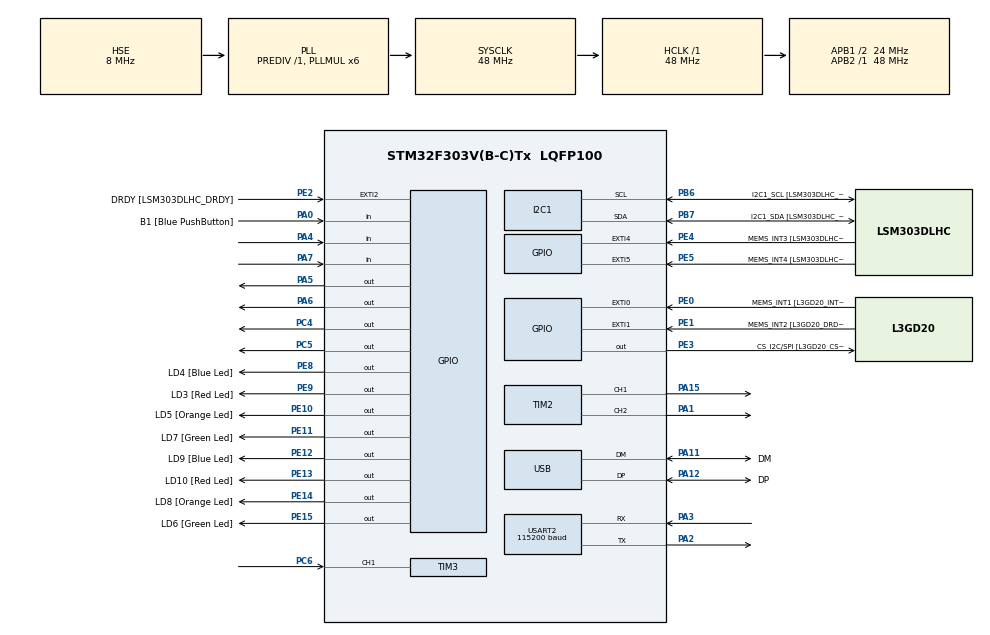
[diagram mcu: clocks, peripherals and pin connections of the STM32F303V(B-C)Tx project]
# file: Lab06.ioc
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I2C1.Timing=0x00201D2B
I2C1.Timing-I2C=0x2000090E
Mcu.Family=STM32F3
Mcu.Name=STM32F303V(B-C)Tx
Mcu.Package=LQFP100
NVIC.PriorityGroup=NVIC_PRIORITYGROUP_0
NVIC.TIM3_IRQn=true\:0\:0\:false\:false\:true\:true\:true\:true
PA0.GPIO_Label=B1 [Blue PushButton]
PA0.Signal=GPIO_Input
PA1.Signal=S_TIM2_CH2
PA11.GPIO_Label=DM
PA11.Mode=Device
PA11.Signal=USB_DM
PA12.GPIO_Label=DP
PA12.Mode=Device
PA12.Signal=USB_DP
PA13.GPIO_Label=SWDIO
PA13.Mode=Serial_Wire
PA13.Signal=SYS_JTMS-SWDIO
PA14.GPIO_Label=SWCLK
PA14.Mode=Serial_Wire
PA14.Signal=SYS_JTCK-SWCLK
PA15.Signal=S_TIM2_CH1_ETR
PA2.Mode=Asynchronous
PA2.Signal=USART2_TX
PA3.Mode=Asynchronous
PA3.Signal=USART2_RX
PA4.GPIO_PuPd=GPIO_PULLUP
PA4.Signal=GPIO_Input
PA5.Signal=GPIO_Output
PA6.Signal=GPIO_Output
PA7.GPIO_PuPd=GPIO_PULLUP
PA7.Signal=GPIO_Input
PB3.GPIO_Label=SWO
PB3.Signal=SYS_JTDO-TRACESWO
PB6.GPIO_Label=I2C1_SCL [LSM303DLHC_SCL]
PB6.GPIO_Pu=GPIO_PULLUP
PB6.Mode=I2C
PB6.Signal=I2C1_SCL
PB7.GPIO_Label=I2C1_SDA [LSM303DLHC_SDA]
PB7.GPIO_Pu=GPIO_PULLUP
PB7.Mode=I2C
PB7.Signal=I2C1_SDA
PC14-OSC32_IN.GPIO_Label=OSC32_IN
PC14-OSC32_IN.Signal=RCC_OSC32_IN
PC15-OSC32_OUT.GPIO_Label=OSC32_OUT
PC15-OSC32_OUT.Signal=RCC_OSC32_OUT
PC4.Signal=GPIO_Output
PC5.Signal=GPIO_Output
PC6.Signal=S_TIM3_CH1
PE0.GPIO_Label=MEMS_INT1 [L3GD20_INT1]
PE0.GPIO_ModeDefaultEXTI=GPIO_MODE_EVT_RISING
PE0.Signal=GPXTI0
PE1.GPIO_Label=MEMS_INT2 [L3GD20_DRDY/INT2]
PE1.GPIO_ModeDefaultEXTI=GPIO_MODE_EVT_RISING
PE1.Signal=GPXTI1
PE10.GPIO_Label=LD5 [Orange Led]
PE10.Signal=GPIO_Output
PE11.GPIO_Label=LD7 [Green Led]
PE11.Signal=GPIO_Output
PE12.GPIO_Label=LD9 [Blue Led]
PE12.Signal=GPIO_Output
PE13.GPIO_Label=LD10 [Red Led]
PE13.Signal=GPIO_Output
PE14.GPIO_Label=LD8 [Orange Led]
PE14.Signal=GPIO_Output
PE15.GPIO_Label=LD6 [Green Led]
PE15.Signal=GPIO_Output
PE2.GPIO_Label=DRDY [LSM303DLHC_DRDY]
PE2.GPIO_ModeDefaultEXTI=GPIO_MODE_EVT_RISING
PE2.Signal=GPXTI2
PE3.GPIO_Label=CS_I2C/SPI [L3GD20_CS_I2C/SPI]
PE3.Signal=GPIO_Output
PE4.GPIO_Label=MEMS_INT3 [LSM303DLHC_INT1]
PE4.GPIO_ModeDefaultEXTI=GPIO_MODE_EVT_RISING
PE4.Signal=GPXTI4
PE5.GPIO_Label=MEMS_INT4 [LSM303DLHC_INT2]
PE5.GPIO_ModeDefaultEXTI=GPIO_MODE_EVT_RISING
PE5.Signal=GPXTI5
PE8.GPIO_Label=LD4 [Blue Led]
PE8.Signal=GPIO_Output
PE9.GPIO_Label=LD3 [Red Led]
PE9.Signal=GPIO_Output
PF0-OSC_IN.GPIO_Label=OSC_IN
PF0-OSC_IN.Mode=HSE-External-Clock-Source
PF0-OSC_IN.Signal=RCC_OSC_IN
PF1-OSC_OUT.GPIO_Label=OSC_OUT
PF1-OSC_OUT.Signal=RCC_OSC_OUT
ProjectManager.HeapSize=0x200
ProjectManager.StackSize=0x400
ProjectManager.TargetToolchain=CMake
RCC.AHBFreq_Value=48000000
RCC.APB1CLKDivider=RCC_HCLK_DIV2
RCC.APB1Freq_Value=24000000
RCC.APB1TimFreq_Value=48000000
RCC.APB2Freq_Value=48000000
RCC.APB2TimFreq_Value=48000000
RCC.CortexFreq_Value=48000000
RCC.HCLKFreq_Value=48000000
RCC.HSE_VALUE=8000000
RCC.HSI_VALUE=8000000
RCC.LSE_VALUE=32768
RCC.PLLMUL=RCC_PLL_MUL6
RCC.SYSCLKFreq_VALUE=48000000
RCC.SYSCLKSourceVirtual=RCC_SYSCLKSOURCE_PLLCLK
RCC.USBFreq_Value=48000000
SH.S_TIM2_CH1_ETR.0=TIM2_CH1,PWM Generation1 CH1
SH.S_TIM2_CH2.0=TIM2_CH2,PWM Generation2 CH2
SH.S_TIM3_CH1.0=TIM3_CH1,Input_Capture1_from_TI1
TIM2.Channel-PWM\ Generation1\ CH1=TIM_CHANNEL_1
TIM2.Channel-PWM\ Generation2\ CH2=TIM_CHANNEL_2
TIM3.Channel-Input_Capture1_from_TI1=TIM_CHANNEL_1
TIM3.Prescaler=47
USART2.BaudRate=115200
USART2.VirtualMode-Asynchronous=VM_ASYNC
VP_TIM3_VS_ClockSourceINT.Mode=Internal
board=STM32F3DISCOVERY

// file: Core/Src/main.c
/* USER CODE BEGIN Header */
/**
  ******************************************************************************
  * @file           : main.c
  * @brief          : Lab 6 Task 4 - Motor Speed Measurement Using Input Capture
  ******************************************************************************
  * @attention
  *
  * Hardware Setup (Keyestudio Balance Car Shield):
  * - D4 (Encoder)  -> PA0 (TIM3_CH1) - Input Capture
  * - D10 (PWM)     -> PWM output (TIM2_CH1) - Right motor
  * - D9 (PWM)      -> PWM output (TIM2_CH2) - Left motor
  * - D12           -> PA5 - Right motor direction 1
  * - D8            -> PA6 - Right motor direction 2
  * - D7            -> PC4 - Left motor direction 1
  * - D6            -> PC5 - Left motor direction 2
  * - 5V            -> 5V - Encoder power
  * - GND           -> GND - Common ground
  * - Vin           -> External 7-12V - Motor power
  *
  ******************************************************************************
  */
/* USER CODE END Header */

#include "main.h"
#include <stdio.h>
#include <string.h>
#include <stdarg.h>
#include <stdbool.h>

/* USER CODE BEGIN PTD */

// Structure to store encoder measurements
typedef struct {
    uint32_t pulse_period;      // Time between pulses in microseconds
    uint32_t pulse_count;       // Number of pulses counted
    float frequency;            // Calculated frequency in Hz
    float rpm;                  // Calculated RPM
    uint8_t valid;              // Flag indicating valid measurement
} Encoder_Data_t;

/* USER CODE END PTD */

/* USER CODE BEGIN PD */

// ===== LAB 6 TASK 4: MOTOR SPEED MEASUREMENT USING INPUT CAPTURE =====

// Motor PWM Pins (TIM2)
#define MOTOR_RIGHT_PWM_PORT   GPIOA
#define MOTOR_RIGHT_PWM_PIN    GPIO_PIN_1   // PA1 - TIM2_CH2 (if using CH2)
#define MOTOR_LEFT_PWM_PORT    GPIOA
#define MOTOR_LEFT_PWM_PIN     GPIO_PIN_2   // PA2 - TIM2_CH3 (if using CH3)

// Motor Direction Pins (from shield)
#define MOTOR_RIGHT_DIR1_PORT  GPIOA
#define MOTOR_RIGHT_DIR1_PIN   GPIO_PIN_5   // D12 - Right motor direction 1
#define MOTOR_RIGHT_DIR2_PORT  GPIOA
#define MOTOR_RIGHT_DIR2_PIN   GPIO_PIN_6   // D8 - Right motor direction 2

#define MOTOR_LEFT_DIR1_PORT   GPIOC
#define MOTOR_LEFT_DIR1_PIN    GPIO_PIN_4   // D7 - Left motor direction 1
#define MOTOR_LEFT_DIR2_PORT   GPIOC
#define MOTOR_LEFT_DIR2_PIN    GPIO_PIN_5   // D6 - Left motor direction 2

// Encoder Parameters
#define PULSES_PER_REVOLUTION  330    // PPR - Adjust based on your motor
#define MIN_VALID_PERIOD       100   // Minimum valid period (100µs = 10kHz max)
#define MAX_VALID_PERIOD       100000 // Maximum valid period (100ms = 10Hz min)

// PWM Parameters for Motor Control
#define PWM_MAX_VALUE          4294967295  // 32-bit max for TIM2
#define PWM_TEST_SPEED          2147483647  // 50% duty cycle

/* USER CODE END PD */

I2C_HandleTypeDef hi2c1;

TIM_HandleTypeDef htim2;
TIM_HandleTypeDef htim3;

UART_HandleTypeDef huart2;

PCD_HandleTypeDef hpcd_USB_FS;

/* USER CODE BEGIN PV */

/* ============================================================
   TASK 4: Input Capture Variables
   ============================================================ */
volatile uint32_t ic_val1       = 0;   // First captured timer value
volatile uint32_t ic_val2       = 0;   // Second captured timer value
volatile uint8_t  ic_edge_count = 0;   // Counts how many edges have been captured
volatile uint8_t  ic_ready      = 0;   // Flag: 1 = two edges captured, RPM ready to calc

// Encoder data for right motor
static Encoder_Data_t encoder_right = {0};

// UART buffer for printf
static char uart_buffer[256];

/* USER CODE END PV */

void SystemClock_Config(void);
static void MX_GPIO_Init(void);
static void MX_I2C1_Init(void);
static void MX_TIM2_Init(void);
static void MX_TIM3_Init(void);
static void MX_USART2_UART_Init(void);
static void MX_USB_PCD_Init(void);

/* USER CODE BEGIN PFP */

// ===== MOTOR CONTROL FUNCTIONS =====
void Motor_Init(void);
void Motor_SetSpeed_Right(uint32_t pwm_value, uint8_t direction);
void Motor_SetSpeed_Left(uint32_t pwm_value, uint8_t direction);
void Motor_Stop(void);

// ===== ENCODER FUNCTIONS =====
void Encoder_Init_InputCapture(void);
float Encoder_Calculate_Frequency(uint32_t period_us);
float Encoder_Calculate_RPM(float frequency_hz);

// ===== UART FUNCTIONS =====
void UART_Printf(const char *format, ...);
void UART_SendString(char *str);

// ===== TASK 4 FUNCTIONS =====
void HAL_TIM_IC_CaptureCallback(TIM_HandleTypeDef *htim);
void calculate_and_print_RPM(void);
void Print_Motor_Speed_InputCapture(void);

/* USER CODE END PFP */

/* USER CODE BEGIN 0 */

// ===== UART FUNCTIONS =====

/**
  * @brief Simplified printf using UART
  */
void UART_Printf(const char *format, ...)
{
    va_list args;
    va_start(args, format);
    vsnprintf(uart_buffer, sizeof(uart_buffer), format, args);
    va_end(args);

    HAL_UART_Transmit(&huart2, (uint8_t*)uart_buffer, strlen(uart_buffer), HAL_MAX_DELAY);
}

/**
  * @brief Send string over UART
  */
void UART_SendString(char *str)
{
    HAL_UART_Transmit(&huart2, (uint8_t*)str, strlen(str), HAL_MAX_DELAY);
}

// ===== MOTOR CONTROL FUNCTIONS =====

/**
  * @brief Initialize motor control pins and PWM
  */
void Motor_Init(void)
{
    // Initialize direction pins (set all to output low)
    HAL_GPIO_WritePin(MOTOR_RIGHT_DIR1_PORT, MOTOR_RIGHT_DIR1_PIN, GPIO_PIN_RESET);
    HAL_GPIO_WritePin(MOTOR_RIGHT_DIR2_PORT, MOTOR_RIGHT_DIR2_PIN, GPIO_PIN_RESET);
    HAL_GPIO_WritePin(MOTOR_LEFT_DIR1_PORT, MOTOR_LEFT_DIR1_PIN, GPIO_PIN_RESET);
    HAL_GPIO_WritePin(MOTOR_LEFT_DIR2_PORT, MOTOR_LEFT_DIR2_PIN, GPIO_PIN_RESET);

    // Start PWM on motor channels
    HAL_TIM_PWM_Start(&htim2, TIM_CHANNEL_1); // Right motor PWM
    HAL_TIM_PWM_Start(&htim2, TIM_CHANNEL_2); // Left motor PWM

    // Initialize with motor stopped
    Motor_Stop();

    UART_Printf("Motor initialized\r\n");
}

/**
  * @brief Set right motor speed and direction
  * @param pwm_value PWM value (0-4294967295)
  * @param direction 0 = forward, 1 = backward
  */
void Motor_SetSpeed_Right(uint32_t pwm_value, uint8_t direction)
{
    // Set direction pins according to Keyestudio shield logic
    // Forward: D8 LOW, D12 HIGH
    // Backward: D8 HIGH, D12 LOW
    if (direction == 0)  // Forward
    {
        HAL_GPIO_WritePin(MOTOR_RIGHT_DIR1_PORT, MOTOR_RIGHT_DIR1_PIN, GPIO_PIN_SET);   // D12 HIGH
        HAL_GPIO_WritePin(MOTOR_RIGHT_DIR2_PORT, MOTOR_RIGHT_DIR2_PIN, GPIO_PIN_RESET); // D8 LOW
    }
    else  // Backward
    {
        HAL_GPIO_WritePin(MOTOR_RIGHT_DIR1_PORT, MOTOR_RIGHT_DIR1_PIN, GPIO_PIN_RESET); // D12 LOW
        HAL_GPIO_WritePin(MOTOR_RIGHT_DIR2_PORT, MOTOR_RIGHT_DIR2_PIN, GPIO_PIN_SET);   // D8 HIGH
    }

    // Set PWM duty cycle
    __HAL_TIM_SET_COMPARE(&htim2, TIM_CHANNEL_1, pwm_value);
}

/**
  * @brief Set left motor speed and direction
  * @param pwm_value PWM value (0-4294967295)
  * @param direction 0 = forward, 1 = backward
  */
void Motor_SetSpeed_Left(uint32_t pwm_value, uint8_t direction)
{
    // Set direction pins according to Keyestudio shield logic
    // Forward: D6 LOW, D7 HIGH
    // Backward: D6 HIGH, D7 LOW
    if (direction == 0)  // Forward
    {
        HAL_GPIO_WritePin(MOTOR_LEFT_DIR1_PORT, MOTOR_LEFT_DIR1_PIN, GPIO_PIN_SET);   // D7 HIGH
        HAL_GPIO_WritePin(MOTOR_LEFT_DIR2_PORT, MOTOR_LEFT_DIR2_PIN, GPIO_PIN_RESET); // D6 LOW
    }
    else  // Backward
    {
        HAL_GPIO_WritePin(MOTOR_LEFT_DIR1_PORT, MOTOR_LEFT_DIR1_PIN, GPIO_PIN_RESET); // D7 LOW
        HAL_GPIO_WritePin(MOTOR_LEFT_DIR2_PORT, MOTOR_LEFT_DIR2_PIN, GPIO_PIN_SET);   // D6 HIGH
    }

    // Set PWM duty cycle
    __HAL_TIM_SET_COMPARE(&htim2, TIM_CHANNEL_2, pwm_value);
}

/**
  * @brief Stop motors
  */
void Motor_Stop(void)
{
    // Set PWM to 0
    __HAL_TIM_SET_COMPARE(&htim2, TIM_CHANNEL_1, 0);
    __HAL_TIM_SET_COMPARE(&htim2, TIM_CHANNEL_2, 0);

    // Reset direction pins
    HAL_GPIO_WritePin(MOTOR_RIGHT_DIR1_PORT, MOTOR_RIGHT_DIR1_PIN, GPIO_PIN_RESET);
    HAL_GPIO_WritePin(MOTOR_RIGHT_DIR2_PORT, MOTOR_RIGHT_DIR2_PIN, GPIO_PIN_RESET);
    HAL_GPIO_WritePin(MOTOR_LEFT_DIR1_PORT, MOTOR_LEFT_DIR1_PIN, GPIO_PIN_RESET);
    HAL_GPIO_WritePin(MOTOR_LEFT_DIR2_PORT, MOTOR_LEFT_DIR2_PIN, GPIO_PIN_RESET);
}

// ===== ENCODER FUNCTIONS =====

/**
  * @brief Initialize encoder for input capture mode
  */
void Encoder_Init_InputCapture(void)
{
    // Reset encoder data
    memset(&encoder_right, 0, sizeof(Encoder_Data_t));

    // Reset input capture variables
    ic_val1 = 0;
    ic_val2 = 0;
    ic_edge_count = 0;
    ic_ready = 0;

    UART_Printf("Encoder initialized for Input Capture mode on PA0 (TIM3_CH1)\r\n");
}

/**
  * @brief Calculate frequency from period
  * @param period_us Period in microseconds
  * @return Frequency in Hz
  */
float Encoder_Calculate_Frequency(uint32_t period_us)
{
    if (period_us == 0)
        return 0.0f;

    // Frequency = 1 / Period (in seconds)
    // Period in seconds = period_us / 1,000,000
    return 1000000.0f / (float)period_us;
}

/**
  * @brief Calculate RPM from frequency
  * @param frequency_hz Frequency in Hz
  * @return RPM
  */
float Encoder_Calculate_RPM(float frequency_hz)
{
    // RPM = (Pulses per second) * 60 / (Pulses per revolution)
    return (frequency_hz * 60.0f) / (float)PULSES_PER_REVOLUTION;
}

// ===== TASK 4: INPUT CAPTURE FUNCTIONS =====

/**
  * @brief Input Capture interrupt callback
  * This function is called automatically by HAL every time TIM3 CH1 captures a rising edge
  */
void HAL_TIM_IC_CaptureCallback(TIM_HandleTypeDef *htim)
{
    if (htim->Instance == TIM3 && htim->Channel == HAL_TIM_ACTIVE_CHANNEL_1)
    {
        if (ic_edge_count == 0)
        {
            // First rising edge captured
            ic_val1 = HAL_TIM_ReadCapturedValue(htim, TIM_CHANNEL_1);
            ic_edge_count = 1;
        }
        else if (ic_edge_count == 1)
        {
            // Second rising edge captured
            ic_val2 = HAL_TIM_ReadCapturedValue(htim, TIM_CHANNEL_1);
            ic_edge_count = 0;
            ic_ready = 1;  // Signal main loop that RPM is ready to calculate

            // Increment pulse count
            encoder_right.pulse_count++;
        }
    }
}

/**
  * @brief Calculate and print RPM from captured values
  */
void calculate_and_print_RPM(void)
{
    uint32_t ticks;
    float frequency;
    float rpm;

    // Calculate period in ticks (handling timer overflow)
    if (ic_val2 > ic_val1)
    {
        ticks = ic_val2 - ic_val1;
    }
    else
    {
        // Timer overflow occurred
        ticks = (65535 - ic_val1) + ic_val2 + 1;
    }

    // Store period
    encoder_right.pulse_period = ticks;

    // Check if period is valid
    if (ticks > MIN_VALID_PERIOD && ticks < MAX_VALID_PERIOD)
    {
        encoder_right.valid = 1;

        // Calculate frequency and RPM
        frequency = Encoder_Calculate_Frequency(ticks);
        rpm = Encoder_Calculate_RPM(frequency);

        // Print result
        UART_Printf("Period: %lu µs, Frequency: %.2f Hz, RPM: %.2f\r\n",
                   ticks, frequency, rpm);
    }
    else
    {
        UART_Printf("Invalid period: %lu µs (out of range)\r\n", ticks);
    }
}

/**
  * @brief Print motor speed information for input capture mode
  */
void Print_Motor_Speed_InputCapture(void)
{
    static uint32_t last_print_time = 0;
    uint32_t current_time = HAL_GetTick();

    // Print every 500ms
    if (current_time - last_print_time >= 500)
    {
        last_print_time = current_time;

        // Clear screen
        UART_Printf("\033[2J\033[H");
        UART_Printf("========================================\r\n");
        UART_Printf("   LAB 6 TASK 4: INPUT CAPTURE MODE\r\n");
        UART_Printf("========================================\r\n\n");

        UART_Printf("Motor PWM: 50%% duty cycle\r\n");
        UART_Printf("Encoder PPR: %d\r\n", PULSES_PER_REVOLUTION);
        UART_Printf("Input Capture Pin: PA0 (TIM3_CH1)\r\n\n");

        if (encoder_right.valid && encoder_right.pulse_count > 0)
        {
            UART_Printf("--- MEASUREMENTS ---\r\n");
            UART_Printf("Pulse Count: %lu\r\n", encoder_right.pulse_count);
            UART_Printf("Last Period: %lu µs\r\n", encoder_right.pulse_period);

            if (encoder_right.pulse_period > MIN_VALID_PERIOD)
            {
                float freq = Encoder_Calculate_Frequency(encoder_right.pulse_period);
                float rpm = Encoder_Calculate_RPM(freq);
                UART_Printf("Frequency: %.2f Hz\r\n", freq);
                UART_Printf("Motor Speed: %.2f RPM\r\n", rpm);

                // Visual speed indicator
                UART_Printf("\r\nSpeed: [");
                int bars = (int)(rpm / 100.0f);
                if (bars > 50) bars = 50;
                for (int i = 0; i < bars; i++) UART_SendString("#");
                for (int i = bars; i < 50; i++) UART_SendString(".");
                UART_Printf("]\r\n");
            }
        }
        else
        {
            UART_Printf("⏳ Waiting for encoder pulses...\r\n");
            UART_Printf("Edge count: %d\r\n", ic_edge_count);
        }

        UART_Printf("\r\nTIM3 Counter: %lu\r\n", __HAL_TIM_GET_COUNTER(&htim3));
    }
}

/* USER CODE END 0 */

int main(void)
{

    /* MCU Configuration--------------------------------------------------------*/

    /* Reset of all peripherals, Initializes the Flash interface and the Systick. */
    HAL_Init();

    /* Configure the system clock */
    SystemClock_Config();

    /* Initialize all configured peripherals */
    MX_GPIO_Init();
    MX_I2C1_Init();
    MX_TIM2_Init();
    MX_TIM3_Init();
    MX_USART2_UART_Init();
    MX_USB_PCD_Init();

    /* USER CODE BEGIN 2 */

    /* --- Motor Direction Setup --- */
    // Set motors to forward direction
    HAL_GPIO_WritePin(MOTOR_RIGHT_DIR1_PORT, MOTOR_RIGHT_DIR1_PIN, GPIO_PIN_SET);   // D12 HIGH
    HAL_GPIO_WritePin(MOTOR_RIGHT_DIR2_PORT, MOTOR_RIGHT_DIR2_PIN, GPIO_PIN_RESET); // D8 LOW
    HAL_GPIO_WritePin(MOTOR_LEFT_DIR1_PORT, MOTOR_LEFT_DIR1_PIN, GPIO_PIN_SET);     // D7 HIGH
    HAL_GPIO_WritePin(MOTOR_LEFT_DIR2_PORT, MOTOR_LEFT_DIR2_PIN, GPIO_PIN_RESET);   // D6 LOW

    /* --- Initialize Motor PWM --- */
    HAL_TIM_PWM_Start(&htim2, TIM_CHANNEL_1); // Right motor PWM
    HAL_TIM_PWM_Start(&htim2, TIM_CHANNEL_2); // Left motor PWM

    /* --- Set PWM Duty Cycle (50%) --- */
    __HAL_TIM_SET_COMPARE(&htim2, TIM_CHANNEL_1, PWM_TEST_SPEED);
    __HAL_TIM_SET_COMPARE(&htim2, TIM_CHANNEL_2, PWM_TEST_SPEED);

    /* --- Initialize Encoder for Input Capture --- */
    Encoder_Init_InputCapture();

    /* --- Start TIM3 Channel 1 Input Capture with Interrupt --- */
    HAL_TIM_IC_Start_IT(&htim3, TIM_CHANNEL_1);

    /* --- UART Test Message --- */
    UART_Printf("\r\n\n========================================\r\n");
    UART_Printf("LAB 6 TASK 4: INPUT CAPTURE MODE\r\n");
    UART_Printf("Encoder connected to PA0 (TIM3_CH1)\r\n");
    UART_Printf("Motors running at 50%% duty cycle\r\n");
    UART_Printf("========================================\r\n\n");

    /* USER CODE END 2 */

    /* Infinite loop */
    while (1)
    {

        /* USER CODE BEGIN 3 */

        // Check if RPM is ready to calculate
        if (ic_ready)
        {
            calculate_and_print_RPM();
            ic_ready = 0;
        }

        // Print speed information periodically
        Print_Motor_Speed_InputCapture();

        HAL_Delay(10);
    }
    /* USER CODE END 3 */
}

void SystemClock_Config(void)
{
    RCC_OscInitTypeDef RCC_OscInitStruct = {0};
    RCC_ClkInitTypeDef RCC_ClkInitStruct = {0};
    RCC_PeriphCLKInitTypeDef PeriphClkInit = {0};

    /** Initializes the RCC Oscillators according to the specified parameters
    * in the RCC_OscInitTypeDef structure.
    */
    RCC_OscInitStruct.OscillatorType = RCC_OSCILLATORTYPE_HSI|RCC_OSCILLATORTYPE_HSE;
    RCC_OscInitStruct.HSEState = RCC_HSE_BYPASS;
    RCC_OscInitStruct.HSEPredivValue = RCC_HSE_PREDIV_DIV1;
    RCC_OscInitStruct.HSIState = RCC_HSI_ON;
    RCC_OscInitStruct.HSICalibrationValue = RCC_HSICALIBRATION_DEFAULT;
    RCC_OscInitStruct.PLL.PLLState = RCC_PLL_ON;
    RCC_OscInitStruct.PLL.PLLSource = RCC_PLLSOURCE_HSE;
    RCC_OscInitStruct.PLL.PLLMUL = RCC_PLL_MUL6;
    if (HAL_RCC_OscConfig(&RCC_OscInitStruct) != HAL_OK)
    {
        Error_Handler();
    }

    /** Initializes the CPU, AHB and APB buses clocks
    */
    RCC_ClkInitStruct.ClockType = RCC_CLOCKTYPE_HCLK|RCC_CLOCKTYPE_SYSCLK
                              |RCC_CLOCKTYPE_PCLK1|RCC_CLOCKTYPE_PCLK2;
    RCC_ClkInitStruct.SYSCLKSource = RCC_SYSCLKSOURCE_PLLCLK;
    RCC_ClkInitStruct.AHBCLKDivider = RCC_SYSCLK_DIV1;
    RCC_ClkInitStruct.APB1CLKDivider = RCC_HCLK_DIV2;
    RCC_ClkInitStruct.APB2CLKDivider = RCC_HCLK_DIV1;

    if (HAL_RCC_ClockConfig(&RCC_ClkInitStruct, FLASH_LATENCY_1) != HAL_OK)
    {
        Error_Handler();
    }
    PeriphClkInit.PeriphClockSelection = RCC_PERIPHCLK_USB|RCC_PERIPHCLK_USART2
                              |RCC_PERIPHCLK_I2C1;
    PeriphClkInit.Usart2ClockSelection = RCC_USART2CLKSOURCE_PCLK1;
    PeriphClkInit.I2c1ClockSelection = RCC_I2C1CLKSOURCE_HSI;
    PeriphClkInit.USBClockSelection = RCC_USBCLKSOURCE_PLL;
    if (HAL_RCCEx_PeriphCLKConfig(&PeriphClkInit) != HAL_OK)
    {
        Error_Handler();
    }
}

static void MX_I2C1_Init(void)
{
    hi2c1.Instance = I2C1;
    hi2c1.Init.Timing = 0x00201D2B;
    hi2c1.Init.OwnAddress1 = 0;
    hi2c1.Init.AddressingMode = I2C_ADDRESSINGMODE_7BIT;
    hi2c1.Init.DualAddressMode = I2C_DUALADDRESS_DISABLE;
    hi2c1.Init.OwnAddress2 = 0;
    hi2c1.Init.OwnAddress2Masks = I2C_OA2_NOMASK;
    hi2c1.Init.GeneralCallMode = I2C_GENERALCALL_DISABLE;
    hi2c1.Init.NoStretchMode = I2C_NOSTRETCH_DISABLE;

    if (HAL_I2C_Init(&hi2c1) != HAL_OK)
    {
        Error_Handler();
    }

    if (HAL_I2CEx_ConfigAnalogFilter(&hi2c1, I2C_ANALOGFILTER_ENABLE) != HAL_OK)
    {
        Error_Handler();
    }

    if (HAL_I2CEx_ConfigDigitalFilter(&hi2c1, 0) != HAL_OK)
    {
        Error_Handler();
    }
}

static void MX_TIM2_Init(void)
{
    TIM_MasterConfigTypeDef sMasterConfig = {0};
    TIM_OC_InitTypeDef sConfigOC = {0};

    htim2.Instance = TIM2;
    htim2.Init.Prescaler = 0;
    htim2.Init.CounterMode = TIM_COUNTERMODE_UP;
    htim2.Init.Period = 4294967295;  // 32-bit max value
    htim2.Init.ClockDivision = TIM_CLOCKDIVISION_DIV1;
    htim2.Init.AutoReloadPreload = TIM_AUTORELOAD_PRELOAD_DISABLE;

    if (HAL_TIM_PWM_Init(&htim2) != HAL_OK)
    {
        Error_Handler();
    }

    sMasterConfig.MasterOutputTrigger = TIM_TRGO_RESET;
    sMasterConfig.MasterSlaveMode = TIM_MASTERSLAVEMODE_DISABLE;
    if (HAL_TIMEx_MasterConfigSynchronization(&htim2, &sMasterConfig) != HAL_OK)
    {
        Error_Handler();
    }

    sConfigOC.OCMode = TIM_OCMODE_PWM1;
    sConfigOC.Pulse = 0;
    sConfigOC.OCPolarity = TIM_OCPOLARITY_HIGH;
    sConfigOC.OCFastMode = TIM_OCFAST_DISABLE;

    if (HAL_TIM_PWM_ConfigChannel(&htim2, &sConfigOC, TIM_CHANNEL_1) != HAL_OK)
    {
        Error_Handler();
    }
    if (HAL_TIM_PWM_ConfigChannel(&htim2, &sConfigOC, TIM_CHANNEL_2) != HAL_OK)
    {
        Error_Handler();
    }

    HAL_TIM_MspPostInit(&htim2);
}

static void MX_TIM3_Init(void)
{
    TIM_ClockConfigTypeDef sClockSourceConfig = {0};
    TIM_MasterConfigTypeDef sMasterConfig = {0};
    TIM_IC_InitTypeDef sConfigIC = {0};

    htim3.Instance = TIM3;

    // Prescaler = 47 gives 1µs per tick with 48MHz timer clock
    // 48MHz / 48 = 1MHz = 1µs per tick
    htim3.Init.Prescaler = 47;
    htim3.Init.CounterMode = TIM_COUNTERMODE_UP;
    htim3.Init.Period = 65535;  // 16-bit timer max
    htim3.Init.ClockDivision = TIM_CLOCKDIVISION_DIV1;
    htim3.Init.AutoReloadPreload = TIM_AUTORELOAD_PRELOAD_DISABLE;

    if (HAL_TIM_Base_Init(&htim3) != HAL_OK)
    {
        Error_Handler();
    }

    sClockSourceConfig.ClockSource = TIM_CLOCKSOURCE_INTERNAL;
    if (HAL_TIM_ConfigClockSource(&htim3, &sClockSourceConfig) != HAL_OK)
    {
        Error_Handler();
    }

    if (HAL_TIM_IC_Init(&htim3) != HAL_OK)
    {
        Error_Handler();
    }

    sMasterConfig.MasterOutputTrigger = TIM_TRGO_RESET;
    sMasterConfig.MasterSlaveMode = TIM_MASTERSLAVEMODE_DISABLE;
    if (HAL_TIMEx_MasterConfigSynchronization(&htim3, &sMasterConfig) != HAL_OK)
    {
        Error_Handler();
    }

    // Configure Channel 1 for Input Capture on rising edge
    sConfigIC.ICPolarity = TIM_INPUTCHANNELPOLARITY_RISING;
    sConfigIC.ICSelection = TIM_ICSELECTION_DIRECTTI;
    sConfigIC.ICPrescaler = TIM_ICPSC_DIV1;
    sConfigIC.ICFilter = 0;

    if (HAL_TIM_IC_ConfigChannel(&htim3, &sConfigIC, TIM_CHANNEL_1) != HAL_OK)
    {
        Error_Handler();
    }

    // Enable TIM3 interrupt in NVIC
    HAL_NVIC_SetPriority(TIM3_IRQn, 5, 0);
    HAL_NVIC_EnableIRQ(TIM3_IRQn);
}

static void MX_USART2_UART_Init(void)
{
    huart2.Instance = USART2;
    huart2.Init.BaudRate = 115200;
    huart2.Init.WordLength = UART_WORDLENGTH_8B;
    huart2.Init.StopBits = UART_STOPBITS_1;
    huart2.Init.Parity = UART_PARITY_NONE;
    huart2.Init.Mode = UART_MODE_TX_RX;
    huart2.Init.HwFlowCtl = UART_HWCONTROL_NONE;
    huart2.Init.OverSampling = UART_OVERSAMPLING_16;
    huart2.Init.OneBitSampling = UART_ONE_BIT_SAMPLE_DISABLE;
    huart2.AdvancedInit.AdvFeatureInit = UART_ADVFEATURE_NO_INIT;

    if (HAL_UART_Init(&huart2) != HAL_OK)
    {
        Error_Handler();
    }
}

static void MX_USB_PCD_Init(void)
{
    hpcd_USB_FS.Instance = USB;
    hpcd_USB_FS.Init.dev_endpoints = 8;
    hpcd_USB_FS.Init.speed = PCD_SPEED_FULL;
    hpcd_USB_FS.Init.phy_itface = PCD_PHY_EMBEDDED;
    hpcd_USB_FS.Init.low_power_enable = DISABLE;
    hpcd_USB_FS.Init.battery_charging_enable = DISABLE;

    if (HAL_PCD_Init(&hpcd_USB_FS) != HAL_OK)
    {
        Error_Handler();
    }
}

static void MX_GPIO_Init(void)
{
    GPIO_InitTypeDef GPIO_InitStruct = {0};

    /* GPIO Ports Clock Enable */
    __HAL_RCC_GPIOE_CLK_ENABLE();
    __HAL_RCC_GPIOC_CLK_ENABLE();
    __HAL_RCC_GPIOF_CLK_ENABLE();
    __HAL_RCC_GPIOA_CLK_ENABLE();
    __HAL_RCC_GPIOB_CLK_ENABLE();

    /* Configure GPIO pin Output Level for onboard LEDs */
    HAL_GPIO_WritePin(GPIOE, CS_I2C_SPI_Pin|LD4_Pin|LD3_Pin|LD5_Pin
                          |LD7_Pin|LD9_Pin|LD10_Pin|LD8_Pin
                          |LD6_Pin, GPIO_PIN_RESET);

    /* Configure GPIO pin Output Level for motor direction pins */
    HAL_GPIO_WritePin(GPIOA, GPIO_PIN_5|GPIO_PIN_6, GPIO_PIN_RESET);
    HAL_GPIO_WritePin(GPIOC, GPIO_PIN_4|GPIO_PIN_5, GPIO_PIN_RESET);

    /* Configure GPIO pins for onboard peripherals */
    GPIO_InitStruct.Pin = DRDY_Pin|MEMS_INT3_Pin|MEMS_INT4_Pin|MEMS_INT1_Pin
                          |MEMS_INT2_Pin;
    GPIO_InitStruct.Mode = GPIO_MODE_EVT_RISING;
    GPIO_InitStruct.Pull = GPIO_NOPULL;
    HAL_GPIO_Init(GPIOE, &GPIO_InitStruct);

    /* Configure GPIO pins for onboard LEDs */
    GPIO_InitStruct.Pin = CS_I2C_SPI_Pin|LD4_Pin|LD3_Pin|LD5_Pin
                          |LD7_Pin|LD9_Pin|LD10_Pin|LD8_Pin
                          |LD6_Pin;
    GPIO_InitStruct.Mode = GPIO_MODE_OUTPUT_PP;
    GPIO_InitStruct.Pull = GPIO_NOPULL;
    GPIO_InitStruct.Speed = GPIO_SPEED_FREQ_LOW;
    HAL_GPIO_Init(GPIOE, &GPIO_InitStruct);

    /* Configure USER button */
    GPIO_InitStruct.Pin = B1_Pin;
    GPIO_InitStruct.Mode = GPIO_MODE_INPUT;
    GPIO_InitStruct.Pull = GPIO_NOPULL;
    HAL_GPIO_Init(B1_GPIO_Port, &GPIO_InitStruct);

    /* Configure PA0 as Input for TIM3_CH1 (Input Capture) */
    GPIO_InitStruct.Pin = GPIO_PIN_0;
    GPIO_InitStruct.Mode = GPIO_MODE_AF_PP;  // Alternate function for TIM3
    GPIO_InitStruct.Pull = GPIO_PULLUP;
    GPIO_InitStruct.Speed = GPIO_SPEED_FREQ_HIGH;
    GPIO_InitStruct.Alternate = GPIO_AF2_TIM3;  // TIM3 alternate function
    HAL_GPIO_Init(GPIOA, &GPIO_InitStruct);

    /* Configure motor direction pins */
    GPIO_InitStruct.Pin = GPIO_PIN_5|GPIO_PIN_6;
    GPIO_InitStruct.Mode = GPIO_MODE_OUTPUT_PP;
    GPIO_InitStruct.Pull = GPIO_NOPULL;
    GPIO_InitStruct.Speed = GPIO_SPEED_FREQ_LOW;
    HAL_GPIO_Init(GPIOA, &GPIO_InitStruct);

    /* Configure left motor direction pins */
    GPIO_InitStruct.Pin = GPIO_PIN_4|GPIO_PIN_5;
    GPIO_InitStruct.Mode = GPIO_MODE_OUTPUT_PP;
    GPIO_InitStruct.Pull = GPIO_NOPULL;
    GPIO_InitStruct.Speed = GPIO_SPEED_FREQ_LOW;
    HAL_GPIO_Init(GPIOC, &GPIO_InitStruct);
}

/* USER CODE BEGIN 4 */

/**
  * @brief TIM3 MSP Post Initialization
  * @param htim TIM handle
  * @retval None
  */
void HAL_TIM_Base_MspInit(TIM_HandleTypeDef* htim)
{
    if(htim->Instance == TIM3)
    {
        /* Enable TIM3 clock */
        __HAL_RCC_TIM3_CLK_ENABLE();

        /* Configure PA0 for TIM3_CH1 */
        GPIO_InitTypeDef GPIO_InitStruct = {0};
        GPIO_InitStruct.Pin = GPIO_PIN_0;
        GPIO_InitStruct.Mode = GPIO_MODE_AF_PP;
        GPIO_InitStruct.Pull = GPIO_PULLUP;
        GPIO_InitStruct.Speed = GPIO_SPEED_FREQ_HIGH;
        GPIO_InitStruct.Alternate = GPIO_AF2_TIM3;
        HAL_GPIO_Init(GPIOA, &GPIO_InitStruct);

        /* Enable TIM3 interrupt */
        HAL_NVIC_SetPriority(TIM3_IRQn, 5, 0);
        HAL_NVIC_EnableIRQ(TIM3_IRQn);
    }
}

/**
  * @brief TIM2 MSP Post Initialization (for PWM pins)
  * @param htim TIM handle
  * @retval None
  */
void HAL_TIM_PWM_MspInit(TIM_HandleTypeDef* htim)
{
    if(htim->Instance == TIM2)
    {
        /* Enable TIM2 clock */
        __HAL_RCC_TIM2_CLK_ENABLE();

        /* Configure PWM pins (PA1, PA2 for TIM2) */
        GPIO_InitTypeDef GPIO_InitStruct = {0};

        // PA1 for TIM2_CH2 (Right motor PWM)
        GPIO_InitStruct.Pin = GPIO_PIN_1;
        GPIO_InitStruct.Mode = GPIO_MODE_AF_PP;
        GPIO_InitStruct.Pull = GPIO_NOPULL;
        GPIO_InitStruct.Speed = GPIO_SPEED_FREQ_HIGH;
        GPIO_InitStruct.Alternate = GPIO_AF2_TIM2;
        HAL_GPIO_Init(GPIOA, &GPIO_InitStruct);

        // PA2 for TIM2_CH3 (Left motor PWM)
        GPIO_InitStruct.Pin = GPIO_PIN_2;
        GPIO_InitStruct.Mode = GPIO_MODE_AF_PP;
        GPIO_InitStruct.Pull = GPIO_NOPULL;
        GPIO_InitStruct.Speed = GPIO_SPEED_FREQ_HIGH;
        GPIO_InitStruct.Alternate = GPIO_AF2_TIM2;
        HAL_GPIO_Init(GPIOA, &GPIO_InitStruct);
    }
}

/* USER CODE END 4 */

void Error_Handler(void)
{
    __disable_irq();
    while (1)
    {
    }
}
